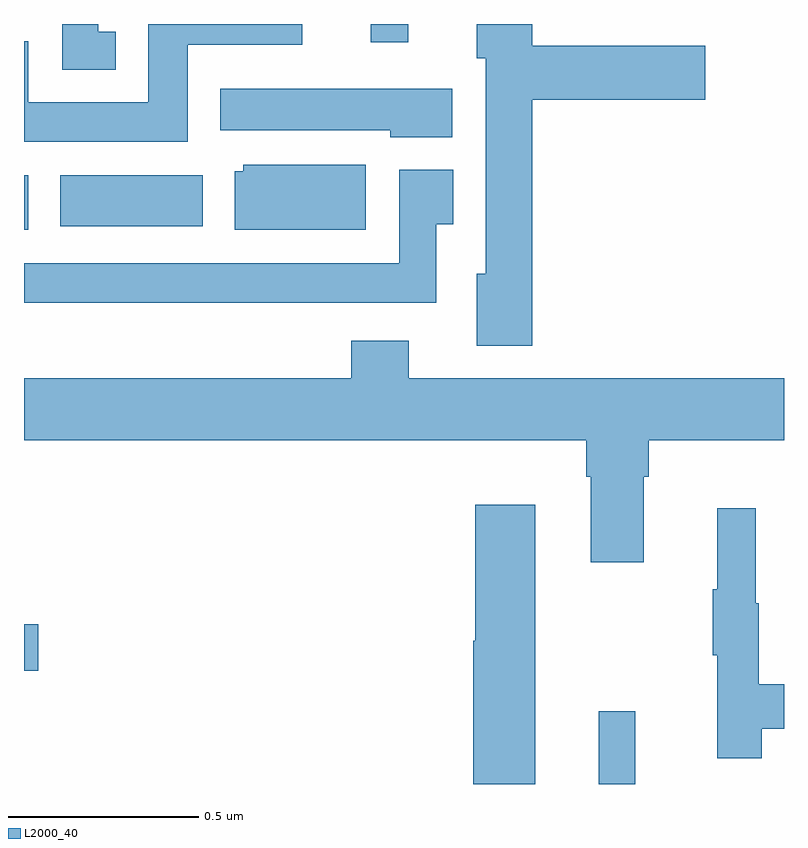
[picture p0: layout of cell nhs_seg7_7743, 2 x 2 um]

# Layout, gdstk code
import gdstk
lib = gdstk.Library(unit=1e-6, precision=1e-09)
def R(c, l, rs):  # rectangles x0, y0, x1, y1
    for r in rs: c.add(gdstk.rectangle(r[:2], r[2:], *l))
def P(c, l, *ps):  # polygons
    for p in ps: c.add(gdstk.Polygon(p, *l))
L2000_40 = (2000, 40)

nhs_seg7_7743 = lib.new_cell('nhs_seg7_7743')
R(nhs_seg7_7743, L2000_40, [(216.512,1045,216.609,1045.192), (215,1045.298,215.038,1045.42), (215,1046.459,215.011,1046.602), (215.096,1046.468,215.47,1046.602), (215.912,1046.952,216.011,1047)])
P(nhs_seg7_7743, L2000_40, [(216.338,1046.801),(216.793,1046.801),(216.793,1046.943),(216.338,1046.943),(216.338,1047),(216.191,1047),(216.191,1046.91),(216.215,1046.91),(216.215,1046.343),(216.191,1046.343),(216.191,1046.153),(216.338,1046.153)],
  [(215.242,1046.979),(215.196,1046.979),(215.196,1047),(215.1,1047),(215.1,1046.879),(215.242,1046.879)],
  [(215.431,1046.945),(215.732,1046.945),(215.732,1047),(215.327,1047),(215.327,1046.794),(215.011,1046.794),(215.011,1046.955),(215,1046.955),(215,1046.69),(215.431,1046.69)],
  [(216.127,1046.83),(215.516,1046.83),(215.516,1046.72),(215.964,1046.72),(215.964,1046.702),(216.127,1046.702)],
  [(215.899,1046.629),(215.577,1046.629),(215.577,1046.613),(215.555,1046.613),(215.555,1046.459),(215.899,1046.459)],
  [(216.085,1046.473),(216.13,1046.473),(216.13,1046.617),(215.988,1046.617),(215.988,1046.371),(215,1046.371),(215,1046.267),(216.085,1046.267)],
  [(216.479,1045.808),(216.491,1045.808),(216.491,1045.584),(216.631,1045.584),(216.631,1045.808),(216.644,1045.808),(216.644,1045.904),(217,1045.904),(217,1046.068),(216.013,1046.068),(216.013,1046.167),(215.861,1046.167),(215.861,1046.068),(215,1046.068),(215,1045.904),(216.479,1045.904)],
  [(216.346,1045.735),(216.188,1045.735),(216.188,1045.377),(216.182,1045.377),(216.182,1045),(216.346,1045)],
  [(216.941,1045.146),(217,1045.146),(217,1045.262),(216.934,1045.262),(216.934,1045.476),(216.926,1045.476),(216.926,1045.726),(216.824,1045.726),(216.824,1045.513),(216.813,1045.513),(216.813,1045.339),(216.824,1045.339),(216.824,1045.068),(216.941,1045.068)])

lib.write_gds('nhs_seg7_7743.gds')
